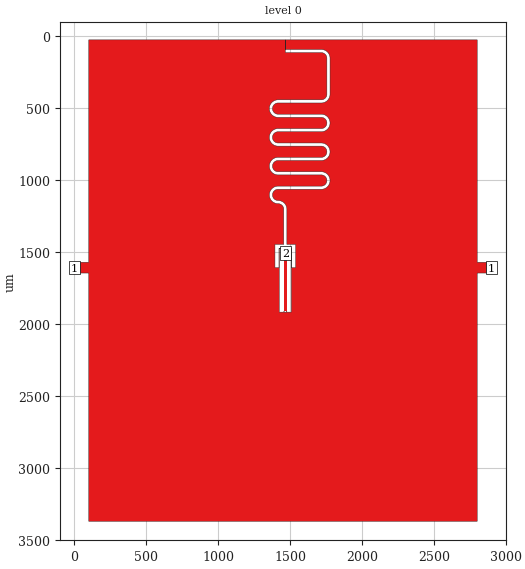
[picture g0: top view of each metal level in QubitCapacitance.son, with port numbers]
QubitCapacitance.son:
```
FTYP SONPROJ 15 ! Sonnet Project File
VER 16.52
HEADER
LIC calt2.2.43068 b6ae2bd1257f DESKTOP-SL82IK9 Michael
DAT 07/12/2016 18:24:53
BUILT_BY_CREATED xgeom 16.52 04/11/2016 14:48:12
BUILT_BY_SAVED xgeom 16.52
MDATE 07/12/2016 18:24:53
HDATE 07/12/2016 16:52:18
END HEADER
DIM
FREQ GHZ
IND NH
LNG UM
ANG DEG
CON /OH
CAP PF
RES OH
END DIM
FREQ
SIMPLE 1.0 2.0 1.0
ABS 4.0 8.0 
STEP 0.1
END FREQ
CONTROL
STD
OPTIONS  -d 
SPEED 0
CACHE_ABS 1
TARG_ABS 300
Q_ACC N
END CONTROL
GEO
DRP1 LEFT FIX 100
DRP1 RIGHT FIX 100
TMET "Lossless" 0 SUP 0 0 0 0
BMET "Lossless" 0 SUP 0 0 0 0
BOX 1 2900 3400 2900 3400 20 0
      1000 1 1 0 0 0 0 "Unnamed"
      500 11.9 1 5e-006 0 0 0 "Silicon (intrinsic)"
LORGN 0 3400 U 
POR1 AGND
POLY 100 1
4
2 50 0 0 0 1466 1506.8 NONE 
POR1 STD
POLY 105 1
2404
1 50 0 0 0 0 1608.500048 
POR1 STD
POLY 105 1
1
1 50 0 0 0 2900 1608.500008 
NUM 2
0 17 -1 N 100 1 1 100 100 0 0 0 Y
1475 1908.8
1473 1908.8
1473 1906.8
1478 1906.8
1478 1506.8
1454 1506.8
1454 1906.8
1459 1906.8
1459 1908.8
1457 1908.8
1457 1910.8
1461 1910.8
1461 1906.8
1471 1906.8
1471 1910.8
1475 1910.8
1475 1908.8
END
0 2410 -1 N 105 1 1 100 100 0 0 0 Y
2800.000156 1645.999993
2900 1645.999993
2900 1571.000023
2800.000156 1571.000023
2800.000156 25
1466 25
1466 91.8
1716 91.8
1716.98 91.81
1717.95 91.83
1718.93 91.87
1719.91 91.92
1720.88 92
1721.86 92.08
1722.83 92.18
1723.8 92.3
1724.77 92.43
1725.74 92.58
1726.7 92.75
1727.66 92.93
1728.62 93.12
1729.57 93.33
1730.52 93.56
1731.47 93.79
1732.42 94.05
1733.36 94.32
1734.29 94.61
1735.22 94.91
1736.15 95.22
1737.07 95.55
1737.98 95.9
1738.89 96.26
1739.8 96.63
1740.69 97.02
1741.58 97.42
1742.47 97.84
1743.34 98.27
1744.22 98.72
1745.08 99.18
1745.93 99.65
1746.78 100.14
1747.62 100.64
1748.45 101.15
1749.28 101.68
1750.09 102.22
1750.9 102.77
1751.7 103.33
1752.48 103.91
1753.26 104.5
1754.03 105.11
1754.79 105.72
1755.54 106.35
1756.28 106.99
1757.01 107.64
1757.73 108.3
1758.44 108.98
1759.13 109.67
1759.82 110.36
1760.49 111.07
1761.16 111.79
1761.81 112.52
1762.45 113.26
1763.08 114.01
1763.69 114.77
1764.3 115.53
1764.89 116.31
1765.47 117.1
1766.03 117.9
1766.58 118.71
1767.12 119.52
1767.65 120.35
1768.16 121.18
1768.66 122.02
1769.15 122.87
1769.62 123.72
1770.08 124.58
1770.53 125.45
1770.96 126.33
1771.38 127.22
1771.78 128.11
1772.17 129
1772.54 129.91
1772.9 130.82
1773.25 131.73
1773.58 132.65
1773.89 133.58
1774.19 134.51
1774.48 135.44
1774.75 136.38
1775.01 137.33
1775.24 138.27
1775.47 139.22
1775.68 140.18
1775.88 141.14
1776.05 142.1
1776.22 143.06
1776.37 144.03
1776.5 145
1776.62 145.97
1776.72 146.94
1776.8 147.92
1776.88 148.89
1776.93 149.87
1776.97 150.84
1776.99 151.82
1777 152.8
1777 155.35
1777 157.9
1777 160.45
1777 163
1777 165.55
1777 168.1
1777 170.66
1777 173.21
1777 175.76
1777 178.31
1777 180.86
1777 183.41
1777 185.96
1777 188.51
1777 191.06
1777 193.62
1777 196.17
1777 198.72
1777 201.27
1777 203.82
1777 206.37
1777 208.92
1777 211.47
1777 214.02
1777 216.58
1777 219.13
1777 221.68
1777 224.23
1777 226.78
1777 229.33
1777 231.88
1777 234.43
1777 236.98
1777 239.53
1777 242.08
1777 244.64
1777 247.19
1777 249.74
1777 252.29
1777 254.84
1777 257.39
1777 259.94
1777 262.49
1777 265.04
1777 267.6
1777 270.15
1777 272.7
1777 275.25
1777 277.8
1777 280.35
1777 282.9
1777 285.45
1777 288
1777 290.55
1777 293.1
1777 295.66
1777 298.21
1777 300.76
1777 303.31
1777 305.86
1777 308.41
1777 310.96
1777 313.51
1777 316.06
1777 318.62
1777 321.17
1777 323.72
1777 326.27
1777 328.82
1777 331.37
1777 333.92
1777 336.47
1777 339.02
1777 341.58
1777 344.13
1777 346.68
1777 349.23
1777 351.78
1777 354.33
1777 356.88
1777 359.43
1777 361.98
1777 364.53
1777 367.08
1777 369.64
1777 372.19
1777 374.74
1777 377.29
1777 379.84
1777 382.39
1777 384.94
1777 387.49
1777 390.04
1777 392.6
1777 395.15
1777 397.7
1777 400.25
1777 402.8
1776.99 403.78
1776.97 404.75
1776.93 405.73
1776.88 406.71
1776.8 407.68
1776.72 408.66
1776.62 409.63
1776.5 410.6
1776.37 411.57
1776.22 412.54
1776.05 413.5
1775.88 414.46
1775.68 415.42
1775.47 416.37
1775.24 417.32
1775.01 418.27
1774.75 419.22
1774.48 420.15
1774.19 421.09
1773.89 422.02
1773.58 422.95
1773.25 423.87
1772.9 424.78
1772.54 425.69
1772.17 426.59
1771.78 427.49
1771.38 428.38
1770.96 429.27
1770.53 430.14
1770.08 431.01
1769.62 431.88
1769.15 432.73
1768.66 433.58
1768.16 434.42
1767.65 435.25
1767.12 436.08
1766.58 436.89
1766.03 437.7
1765.47 438.5
1764.89 439.28
1764.3 440.06
1763.69 440.83
1763.08 441.59
1762.45 442.34
1761.81 443.08
1761.16 443.81
1760.49 444.53
1759.82 445.24
1759.13 445.93
1758.44 446.62
1757.73 447.29
1757.01 447.96
1756.28 448.61
1755.54 449.25
1754.79 449.88
1754.03 450.49
1753.26 451.09
1752.49 451.68
1751.7 452.26
1750.9 452.83
1750.09 453.38
1749.28 453.92
1748.45 454.45
1747.62 454.96
1746.78 455.46
1745.93 455.95
1745.08 456.42
1744.22 456.88
1743.34 457.33
1742.47 457.76
1741.58 458.17
1740.69 458.58
1739.8 458.97
1738.89 459.34
1737.98 459.7
1737.07 460.05
1736.15 460.38
1735.22 460.69
1734.29 460.99
1733.36 461.28
1732.42 461.55
1731.47 461.8
1730.52 462.04
1729.57 462.27
1728.62 462.48
1727.66 462.67
1726.7 462.85
1725.74 463.02
1724.77 463.16
1723.8 463.3
1722.83 463.42
1721.86 463.52
1720.88 463.6
1719.91 463.67
1718.93 463.73
1717.95 463.77
1716.98 463.79
1716 463.8
1416 463.8
1414.75 463.82
1413.5 463.88
1412.26 463.98
1411.01 464.12
1409.78 464.3
1408.55 464.52
1407.32 464.78
1406.11 465.08
1404.9 465.41
1403.71 465.79
1402.53 466.2
1401.37 466.65
1400.21 467.14
1399.08 467.66
1397.96 468.22
1396.86 468.82
1395.78 469.45
1394.73 470.11
1393.69 470.81
1392.67 471.54
1391.68 472.31
1390.72 473.1
1389.78 473.93
1388.87 474.78
1387.99 475.67
1387.13 476.58
1386.31 477.52
1385.51 478.48
1384.75 479.47
1384.01 480.49
1383.32 481.52
1382.65 482.58
1382.02 483.66
1381.42 484.76
1380.86 485.88
1380.34 487.01
1379.85 488.16
1379.4 489.33
1378.99 490.51
1378.61 491.7
1378.28 492.91
1377.98 494.12
1377.72 495.34
1377.5 496.58
1377.32 497.81
1377.18 499.05
1377.08 500.3
1377.02 501.55
1377 502.8
1377.02 504.05
1377.08 505.3
1377.18 506.54
1377.32 507.79
1377.5 509.02
1377.72 510.25
1377.98 511.48
1378.28 512.69
1378.61 513.9
1378.99 515.09
1379.4 516.27
1379.85 517.43
1380.34 518.59
1380.86 519.72
1381.42 520.84
1382.02 521.94
1382.65 523.02
1383.32 524.08
1384.01 525.11
1384.75 526.12
1385.51 527.12
1386.31 528.08
1387.13 529.02
1387.99 529.93
1388.87 530.82
1389.78 531.67
1390.72 532.5
1391.68 533.29
1392.68 534.05
1393.69 534.79
1394.72 535.48
1395.78 536.15
1396.86 536.78
1397.96 537.38
1399.08 537.94
1400.21 538.46
1401.37 538.95
1402.53 539.4
1403.71 539.81
1404.9 540.19
1406.11 540.52
1407.32 540.82
1408.55 541.08
1409.78 541.3
1411.01 541.48
1412.26 541.62
1413.5 541.72
1414.75 541.78
1416 541.8
1716 541.8
1717.95 541.83
1719.91 541.92
1721.86 542.08
1723.8 542.3
1725.74 542.58
1727.66 542.92
1729.57 543.33
1731.47 543.79
1733.36 544.32
1735.22 544.91
1737.07 545.55
1738.89 546.26
1740.69 547.02
1742.47 547.84
1744.22 548.72
1745.93 549.65
1747.62 550.64
1749.28 551.68
1750.9 552.77
1752.49 553.91
1754.03 555.11
1755.54 556.35
1757.01 557.64
1758.44 558.98
1759.82 560.36
1761.16 561.79
1762.45 563.26
1763.69 564.77
1764.89 566.31
1766.03 567.9
1767.12 569.52
1768.16 571.18
1769.15 572.87
1770.08 574.58
1770.96 576.33
1771.78 578.11
1772.54 579.91
1773.25 581.73
1773.89 583.58
1774.48 585.44
1775.01 587.33
1775.47 589.23
1775.88 591.14
1776.22 593.06
1776.5 595
1776.72 596.94
1776.88 598.89
1776.97 600.84
1777 602.8
1776.97 604.75
1776.88 606.71
1776.72 608.66
1776.5 610.6
1776.22 612.54
1775.88 614.46
1775.47 616.37
1775.01 618.27
1774.48 620.15
1773.89 622.02
1773.25 623.87
1772.54 625.69
1771.78 627.49
1770.96 629.27
1770.08 631.01
1769.15 632.73
1768.16 634.42
1767.12 636.08
1766.03 637.7
1764.89 639.28
1763.69 640.83
1762.45 642.34
1761.16 643.81
1759.82 645.24
1758.44 646.62
1757.01 647.96
1755.54 649.25
1754.03 650.49
1752.49 651.69
1750.9 652.83
1749.28 653.92
1747.62 654.96
1745.93 655.95
1744.22 656.88
1742.47 657.76
1740.69 658.58
1738.89 659.34
1737.07 660.05
1735.22 660.69
1733.36 661.28
1731.47 661.8
1729.57 662.27
1727.66 662.67
1725.74 663.02
1723.8 663.3
1721.86 663.52
1719.91 663.67
1717.95 663.77
1716 663.8
1416 663.8
1414.75 663.82
1413.5 663.88
1412.26 663.98
1411.01 664.12
1409.78 664.3
1408.55 664.52
1407.32 664.78
1406.11 665.08
1404.9 665.41
1403.71 665.79
1402.53 666.2
1401.37 666.65
1400.21 667.14
1399.08 667.66
1397.96 668.22
1396.86 668.82
1395.78 669.45
1394.73 670.11
1393.69 670.81
1392.68 671.54
1391.68 672.31
1390.72 673.1
1389.78 673.93
1388.87 674.78
1387.99 675.67
1387.13 676.58
1386.3 677.52
1385.51 678.48
1384.75 679.47
1384.01 680.49
1383.32 681.52
1382.65 682.58
1382.02 683.66
1381.42 684.76
1380.86 685.88
1380.34 687.01
1379.85 688.16
1379.4 689.33
1378.99 690.51
1378.61 691.7
1378.28 692.91
1377.98 694.12
1377.72 695.34
1377.5 696.58
1377.32 697.81
1377.18 699.05
1377.08 700.3
1377.02 701.55
1377 702.8
1377.02 704.05
1377.08 705.3
1377.18 706.54
1377.32 707.79
1377.5 709.02
1377.72 710.25
1377.98 711.48
1378.28 712.69
1378.61 713.9
1378.99 715.09
1379.4 716.27
1379.85 717.43
1380.34 718.59
1380.86 719.72
1381.42 720.84
1382.02 721.94
1382.65 723.02
1383.32 724.08
1384.01 725.11
1384.75 726.12
1385.51 727.11
1386.31 728.08
1387.13 729.02
1387.98 729.93
1388.87 730.81
1389.78 731.67
1390.72 732.49
1391.68 733.29
1392.68 734.05
1393.69 734.79
1394.73 735.48
1395.78 736.15
1396.86 736.78
1397.96 737.38
1399.08 737.94
1400.21 738.46
1401.37 738.95
1402.53 739.4
1403.71 739.81
1404.9 740.19
1406.11 740.52
1407.32 740.82
1408.55 741.08
1409.78 741.3
1411.01 741.48
1412.26 741.62
1413.5 741.72
1414.75 741.78
1416 741.8
1716 741.8
1717.95 741.83
1719.91 741.92
1721.86 742.08
1723.8 742.3
1725.74 742.58
1727.66 742.92
1729.57 743.33
1731.47 743.79
1733.36 744.32
1735.22 744.91
1737.07 745.55
1738.89 746.26
1740.69 747.02
1742.47 747.84
1744.22 748.72
1745.93 749.65
1747.62 750.63
1749.28 751.68
1750.9 752.77
1752.48 753.91
1754.03 755.11
1755.54 756.35
1757.01 757.64
1758.44 758.98
1759.82 760.36
1761.16 761.79
1762.45 763.26
1763.69 764.77
1764.89 766.31
1766.03 767.9
1767.12 769.52
1768.16 771.18
1769.15 772.86
1770.08 774.58
1770.96 776.33
1771.78 778.11
1772.54 779.91
1773.25 781.73
1773.89 783.58
1774.48 785.44
1775 787.33
1775.47 789.23
1775.88 791.14
1776.22 793.06
1776.5 795
1776.72 796.94
1776.88 798.89
1776.97 800.84
1777 802.8
1776.97 804.75
1776.88 806.71
1776.72 808.66
1776.5 810.6
1776.22 812.54
1775.88 814.46
1775.47 816.37
1775.01 818.27
1774.48 820.15
1773.89 822.02
1773.25 823.87
1772.54 825.69
1771.78 827.49
1770.96 829.27
1770.08 831.01
1769.15 832.73
1768.16 834.42
1767.12 836.08
1766.03 837.7
1764.89 839.28
1763.69 840.83
1762.45 842.34
1761.16 843.81
1759.82 845.24
1758.44 846.62
1757.01 847.96
1755.54 849.25
1754.03 850.49
1752.48 851.68
1750.9 852.83
1749.28 853.92
1747.62 854.96
1745.93 855.95
1744.22 856.88
1742.47 857.76
1740.69 858.58
1738.89 859.34
1737.07 860.05
1735.22 860.69
1733.36 861.28
1731.47 861.8
1729.57 862.27
1727.66 862.67
1725.74 863.02
1723.8 863.3
1721.86 863.52
1719.91 863.67
1717.95 863.77
1716 863.8
1416 863.8
1414.75 863.82
1413.5 863.88
1412.26 863.98
1411.01 864.12
1409.78 864.3
1408.55 864.52
1407.32 864.78
1406.11 865.08
1404.9 865.41
1403.71 865.79
1402.53 866.2
1401.37 866.65
1400.21 867.14
1399.08 867.66
1397.96 868.22
1396.86 868.82
1395.78 869.45
1394.73 870.11
1393.69 870.81
1392.67 871.54
1391.68 872.31
1390.72 873.1
1389.78 873.93
1388.87 874.78
1387.99 875.67
1387.13 876.58
1386.31 877.52
1385.51 878.48
1384.75 879.47
1384.01 880.49
1383.32 881.52
1382.65 882.58
1382.02 883.66
1381.42 884.76
1380.86 885.88
1380.34 887.01
1379.85 888.16
1379.4 889.33
1378.99 890.51
1378.61 891.7
1378.28 892.91
1377.98 894.12
1377.72 895.34
1377.5 896.58
1377.32 897.81
1377.18 899.05
1377.08 900.3
1377.02 901.55
1377 902.8
1377.02 904.05
1377.08 905.3
1377.18 906.54
1377.32 907.79
1377.5 909.02
1377.72 910.25
1377.98 911.48
1378.28 912.69
1378.61 913.9
1378.99 915.09
1379.4 916.27
1379.85 917.43
1380.34 918.59
1380.86 919.72
1381.42 920.84
1382.02 921.94
1382.65 923.02
1383.32 924.07
1384.01 925.11
1384.75 926.12
1385.51 927.11
1386.31 928.08
1387.13 929.02
1387.99 929.93
1388.87 930.81
1389.78 931.67
1390.72 932.49
1391.69 933.29
1392.67 934.05
1393.69 934.79
1394.73 935.48
1395.78 936.15
1396.86 936.78
1397.96 937.38
1399.08 937.94
1400.21 938.46
1401.37 938.95
1402.53 939.4
1403.71 939.81
1404.9 940.19
1406.11 940.52
1407.32 940.82
1408.55 941.08
1409.78 941.3
1411.01 941.48
1412.26 941.62
1413.5 941.72
1414.75 941.78
1416 941.8
1716 941.8
1717.95 941.83
1719.91 941.92
1721.86 942.08
1723.8 942.3
1725.74 942.58
1727.66 942.92
1729.57 943.33
1731.47 943.79
1733.36 944.32
1735.22 944.91
1737.07 945.55
1738.89 946.26
1740.69 947.02
1742.47 947.84
1744.22 948.72
1745.93 949.65
1747.62 950.63
1749.28 951.68
1750.9 952.77
1752.49 953.91
1754.03 955.11
1755.54 956.35
1757.01 957.64
1758.44 958.98
1759.82 960.36
1761.16 961.79
1762.45 963.26
1763.69 964.77
1764.89 966.31
1766.03 967.9
1767.12 969.52
1768.16 971.18
1769.15 972.87
1770.08 974.58
1770.96 976.33
1771.78 978.11
1772.54 979.91
1773.25 981.73
1773.89 983.58
1774.48 985.44
1775.01 987.33
1775.47 989.23
1775.88 991.14
1776.22 993.06
1776.5 995
1776.72 996.94
1776.88 998.89
1776.97 1000.84
1777 1002.8
1776.97 1004.75
1776.88 1006.71
1776.72 1008.66
1776.5 1010.6
1776.22 1012.54
1775.88 1014.46
1775.47 1016.37
1775 1018.27
1774.48 1020.15
1773.89 1022.02
1773.25 1023.87
1772.54 1025.69
1771.78 1027.49
1770.96 1029.27
1770.08 1031.01
1769.15 1032.73
1768.16 1034.42
1767.12 1036.08
1766.03 1037.7
1764.89 1039.28
1763.69 1040.83
1762.45 1042.34
1761.16 1043.81
1759.82 1045.24
1758.44 1046.62
1757.01 1047.96
1755.54 1049.25
1754.03 1050.49
1752.49 1051.69
1750.9 1052.83
1749.28 1053.92
1747.62 1054.96
1745.93 1055.95
1744.22 1056.88
1742.47 1057.76
1740.69 1058.58
1738.89 1059.34
1737.07 1060.05
1735.22 1060.69
1733.36 1061.28
1731.47 1061.8
1729.57 1062.27
1727.66 1062.67
1725.74 1063.02
1723.8 1063.3
1721.86 1063.52
1719.91 1063.67
1717.95 1063.77
1716 1063.8
1416 1063.8
1414.75 1063.82
1413.5 1063.88
1412.26 1063.98
1411.01 1064.12
1409.78 1064.3
1408.55 1064.52
1407.32 1064.78
1406.11 1065.08
1404.9 1065.41
1403.71 1065.79
1402.53 1066.2
1401.37 1066.65
1400.21 1067.14
1399.08 1067.66
1397.96 1068.22
1396.86 1068.82
1395.78 1069.45
1394.73 1070.11
1393.69 1070.81
1392.67 1071.54
1391.68 1072.31
1390.72 1073.1
1389.78 1073.93
1388.87 1074.78
1387.99 1075.67
1387.13 1076.58
1386.31 1077.52
1385.51 1078.48
1384.75 1079.47
1384.01 1080.49
1383.32 1081.52
1382.65 1082.58
1382.02 1083.66
1381.42 1084.76
1380.86 1085.88
1380.34 1087.01
1379.85 1088.16
1379.4 1089.33
1378.99 1090.51
1378.61 1091.7
1378.28 1092.91
1377.98 1094.12
1377.72 1095.34
1377.5 1096.58
1377.32 1097.81
1377.18 1099.05
1377.08 1100.3
1377.02 1101.55
1377 1102.8
1377.02 1104.05
1377.08 1105.3
1377.18 1106.54
1377.32 1107.79
1377.5 1109.02
1377.72 1110.25
1377.98 1111.48
1378.28 1112.69
1378.61 1113.9
1378.99 1115.09
1379.4 1116.27
1379.85 1117.43
1380.34 1118.59
1380.86 1119.72
1381.42 1120.84
1382.02 1121.94
1382.65 1123.02
1383.32 1124.08
1384.01 1125.11
1384.75 1126.13
1385.51 1127.12
1386.31 1128.08
1387.13 1129.02
1387.99 1129.93
1388.87 1130.82
1389.78 1131.67
1390.72 1132.5
1391.68 1133.29
1392.68 1134.05
1393.69 1134.79
1394.73 1135.48
1395.78 1136.15
1396.86 1136.78
1397.96 1137.38
1399.08 1137.94
1400.21 1138.46
1401.37 1138.95
1402.53 1139.4
1403.71 1139.81
1404.9 1140.19
1406.11 1140.52
1407.32 1140.82
1408.55 1141.08
1409.78 1141.3
1411.01 1141.48
1412.26 1141.62
1413.5 1141.72
1414.75 1141.78
1416 1141.8
1416.98 1141.81
1417.96 1141.83
1418.93 1141.87
1419.91 1141.92
1420.88 1141.99
1421.86 1142.08
1422.83 1142.18
1423.8 1142.3
1424.77 1142.43
1425.74 1142.58
1426.7 1142.74
1427.66 1142.92
1428.62 1143.12
1429.58 1143.33
1430.53 1143.55
1431.47 1143.79
1432.42 1144.05
1433.36 1144.32
1434.29 1144.61
1435.22 1144.91
1436.15 1145.22
1437.07 1145.55
1437.98 1145.9
1438.89 1146.26
1439.8 1146.63
1440.69 1147.02
1441.58 1147.42
1442.47 1147.84
1443.34 1148.27
1444.22 1148.72
1445.08 1149.18
1445.93 1149.65
1446.78 1150.13
1447.62 1150.63
1448.45 1151.15
1449.28 1151.68
1450.09 1152.22
1450.9 1152.77
1451.7 1153.33
1452.49 1153.91
1453.26 1154.5
1454.03 1155.11
1454.79 1155.72
1455.54 1156.35
1456.28 1156.99
1457.01 1157.64
1457.73 1158.31
1458.44 1158.98
1459.14 1159.66
1459.82 1160.36
1460.49 1161.07
1461.16 1161.79
1461.81 1162.52
1462.45 1163.26
1463.08 1164.01
1463.69 1164.77
1464.3 1165.54
1464.89 1166.31
1465.47 1167.1
1466.03 1167.9
1466.58 1168.71
1467.12 1169.52
1467.65 1170.35
1468.16 1171.18
1468.66 1172.02
1469.15 1172.87
1469.62 1173.72
1470.08 1174.58
1470.53 1175.45
1470.96 1176.33
1471.38 1177.22
1471.78 1178.11
1472.17 1179
1472.54 1179.91
1472.9 1180.82
1473.25 1181.73
1473.58 1182.65
1473.89 1183.58
1474.19 1184.51
1474.48 1185.44
1474.75 1186.38
1475 1187.33
1475.24 1188.27
1475.47 1189.23
1475.68 1190.18
1475.88 1191.14
1476.05 1192.1
1476.22 1193.06
1476.37 1194.03
1476.5 1195
1476.62 1195.97
1476.72 1196.94
1476.8 1197.92
1476.88 1198.89
1476.93 1199.87
1476.97 1200.84
1476.99 1201.82
1477 1202.8
1477 1205.35
1477 1207.9
1477 1210.45
1477 1213
1477 1215.55
1477 1218.11
1477 1220.66
1477 1223.21
1477 1225.76
1477 1228.31
1477 1230.86
1477 1233.41
1477 1235.96
1477 1238.51
1477 1241.06
1477 1243.61
1477 1246.17
1477 1248.72
1477 1251.27
1477 1253.82
1477 1256.37
1477 1258.92
1477 1261.47
1477 1264.02
1477 1266.58
1477 1269.13
1477 1271.68
1477 1274.23
1477 1276.78
1477 1279.33
1477 1281.88
1477 1284.43
1477 1286.98
1477 1289.53
1477 1292.08
1477 1294.64
1477 1297.19
1477 1299.74
1477 1302.29
1477 1304.84
1477 1307.39
1477 1309.94
1477 1312.49
1477 1315.04
1477 1317.59
1477 1320.15
1477 1322.7
1477 1325.25
1477 1327.8
1477 1330.35
1477 1332.9
1477 1335.45
1477 1338
1477 1340.55
1477 1343.11
1477 1345.66
1477 1348.21
1477 1350.76
1477 1353.31
1477 1355.86
1477 1358.41
1477 1360.96
1477 1363.51
1477 1366.06
1477 1368.62
1477 1371.17
1477 1373.72
1477 1376.27
1477 1378.82
1477 1381.37
1477 1383.92
1477 1386.47
1477 1389.02
1477 1391.58
1477 1394.13
1477 1396.68
1477 1399.23
1477 1401.78
1477 1404.33
1477 1406.88
1477 1409.43
1477 1411.98
1477 1414.53
1477 1417.08
1477 1419.64
1477 1422.19
1477 1424.74
1477 1427.29
1477 1429.84
1477 1432.39
1477 1434.94
1477 1437.49
1477 1440.04
1477 1442.59
1477 1445.15
1477 1446.8
1538 1446.8
1538 1608.8
1510 1608.8
1510 1474.8
1424 1474.8
1424 1476.8
1508 1476.8
1508 1917.8
1477 1917.8
1477 1913.8
1473 1913.8
1473 1915.8
1475 1915.8
1475 1917.8
1457 1917.8
1457 1915.8
1459 1915.8
1459 1913.8
1455 1913.8
1455 1917.8
1424 1917.8
1424 1476.8
1424 1474.8
1422 1474.8
1422 1608.8
1394 1608.8
1394 1446.8
1455 1446.8
1455 1445.15
1455 1442.6
1455 1440.04
1455 1437.49
1455 1434.94
1455 1432.39
1455 1429.84
1455 1427.29
1455 1424.74
1455 1422.19
1455 1419.64
1455 1417.08
1455 1414.53
1455 1411.98
1455 1409.43
1455 1406.88
1455 1404.33
1455 1401.78
1455 1399.23
1455 1396.68
1455 1394.13
1455 1391.58
1455 1389.02
1455 1386.47
1455 1383.92
1455 1381.37
1455 1378.82
1455 1376.27
1455 1373.72
1455 1371.17
1455 1368.61
1455 1366.06
1455 1363.51
1455 1360.96
1455 1358.41
1455 1355.86
1455 1353.31
1455 1350.76
1455 1348.21
1455 1345.66
1455 1343.11
1455 1340.55
1455 1338
1455 1335.45
1455 1332.9
1455 1330.35
1455 1327.8
1455 1325.25
1455 1322.7
1455 1320.15
1455 1317.6
1455 1315.04
1455 1312.49
1455 1309.94
1455 1307.39
1455 1304.84
1455 1302.29
1455 1299.74
1455 1297.19
1455 1294.64
1455 1292.08
1455 1289.53
1455 1286.98
1455 1284.43
1455 1281.88
1455 1279.33
1455 1276.78
1455 1274.23
1455 1271.68
1455 1269.13
1455 1266.57
1455 1264.02
1455 1261.47
1455 1258.92
1455 1256.37
1455 1253.82
1455 1251.27
1455 1248.72
1455 1246.17
1455 1243.62
1455 1241.06
1455 1238.51
1455 1235.96
1455 1233.41
1455 1230.86
1455 1228.31
1455 1225.76
1455 1223.21
1455 1220.66
1455 1218.11
1455 1215.55
1455 1213
1455 1210.45
1455 1207.9
1455 1205.35
1455 1202.8
1455 1202.17
1454.98 1201.55
1454.96 1200.92
1454.92 1200.3
1454.88 1199.68
1454.82 1199.05
1454.76 1198.43
1454.68 1197.81
1454.6 1197.19
1454.5 1196.57
1454.4 1195.96
1454.28 1195.34
1454.16 1194.73
1454.02 1194.12
1453.88 1193.51
1453.72 1192.91
1453.56 1192.3
1453.39 1191.7
1453.21 1191.11
1453.01 1190.51
1452.81 1189.92
1452.6 1189.33
1452.38 1188.74
1452.15 1188.16
1451.91 1187.59
1451.66 1187.01
1451.41 1186.44
1451.14 1185.88
1450.86 1185.32
1450.58 1184.76
1450.28 1184.21
1449.98 1183.66
1449.67 1183.12
1449.35 1182.58
1449.02 1182.05
1448.69 1181.52
1448.34 1181
1447.99 1180.49
1447.63 1179.98
1447.26 1179.47
1446.88 1178.98
1446.49 1178.48
1446.1 1178
1445.7 1177.52
1445.29 1177.05
1444.87 1176.58
1444.45 1176.12
1444.02 1175.67
1443.58 1175.22
1443.13 1174.78
1442.68 1174.35
1442.22 1173.93
1441.75 1173.51
1441.28 1173.1
1440.8 1172.7
1440.32 1172.31
1439.83 1171.92
1439.33 1171.54
1438.82 1171.17
1438.31 1170.81
1437.8 1170.46
1437.28 1170.11
1436.75 1169.78
1436.22 1169.45
1435.68 1169.13
1435.14 1168.82
1434.59 1168.52
1434.04 1168.22
1433.48 1167.94
1432.92 1167.66
1432.36 1167.4
1431.79 1167.14
1431.21 1166.89
1430.64 1166.65
1430.06 1166.42
1429.47 1166.2
1428.88 1165.99
1428.29 1165.79
1427.69 1165.59
1427.1 1165.41
1426.5 1165.24
1425.89 1165.08
1425.29 1164.92
1424.68 1164.78
1424.07 1164.64
1423.46 1164.52
1422.84 1164.4
1422.23 1164.3
1421.61 1164.2
1420.99 1164.12
1420.37 1164.04
1419.75 1163.98
1419.12 1163.92
1418.5 1163.88
1417.88 1163.84
1417.25 1163.82
1416.63 1163.8
1416 1163.8
1414.05 1163.77
1412.09 1163.67
1410.14 1163.52
1408.2 1163.3
1406.26 1163.02
1404.34 1162.67
1402.43 1162.27
1400.53 1161.8
1398.65 1161.28
1396.78 1160.69
1394.93 1160.05
1393.11 1159.34
1391.31 1158.58
1389.53 1157.76
1387.79 1156.88
1386.07 1155.95
1384.38 1154.96
1382.72 1153.92
1381.1 1152.83
1379.52 1151.68
1377.97 1150.49
1376.46 1149.25
1374.99 1147.96
1373.56 1146.62
1372.18 1145.24
1370.84 1143.81
1369.55 1142.34
1368.31 1140.83
1367.11 1139.28
1365.97 1137.7
1364.88 1136.08
1363.84 1134.42
1362.85 1132.73
1361.92 1131.01
1361.04 1129.27
1360.22 1127.49
1359.46 1125.69
1358.75 1123.87
1358.11 1122.02
1357.52 1120.15
1357 1118.27
1356.53 1116.37
1356.13 1114.46
1355.78 1112.54
1355.5 1110.6
1355.28 1108.66
1355.13 1106.71
1355.03 1104.75
1355 1102.8
1355.03 1100.84
1355.13 1098.89
1355.28 1096.94
1355.5 1095
1355.78 1093.06
1356.13 1091.14
1356.53 1089.23
1357 1087.33
1357.52 1085.44
1358.11 1083.58
1358.75 1081.73
1359.46 1079.91
1360.22 1078.11
1361.04 1076.33
1361.92 1074.58
1362.85 1072.87
1363.84 1071.18
1364.88 1069.52
1365.97 1067.9
1367.11 1066.31
1368.31 1064.77
1369.55 1063.26
1370.84 1061.79
1372.18 1060.36
1373.56 1058.98
1374.99 1057.64
1376.46 1056.35
1377.97 1055.11
1379.52 1053.91
1381.1 1052.77
1382.72 1051.68
1384.38 1050.63
1386.07 1049.65
1387.79 1048.72
1389.53 1047.84
1391.31 1047.02
1393.11 1046.26
1394.93 1045.55
1396.78 1044.91
1398.65 1044.32
1400.53 1043.79
1402.43 1043.33
1404.34 1042.92
1406.27 1042.58
1408.2 1042.3
1410.14 1042.08
1412.09 1041.92
1414.05 1041.83
1416 1041.8
1716 1041.8
1717.25 1041.78
1718.5 1041.72
1719.74 1041.62
1720.99 1041.48
1722.22 1041.3
1723.45 1041.08
1724.68 1040.82
1725.89 1040.52
1727.1 1040.19
1728.29 1039.81
1729.47 1039.4
1730.64 1038.95
1731.79 1038.46
1732.92 1037.94
1734.04 1037.38
1735.14 1036.78
1736.22 1036.15
1737.28 1035.48
1738.31 1034.79
1739.33 1034.05
1740.32 1033.29
1741.28 1032.5
1742.22 1031.67
1743.13 1030.82
1744.02 1029.93
1744.87 1029.02
1745.7 1028.08
1746.49 1027.12
1747.26 1026.12
1747.99 1025.11
1748.68 1024.08
1749.35 1023.02
1749.98 1021.94
1750.58 1020.84
1751.14 1019.72
1751.66 1018.59
1752.15 1017.43
1752.6 1016.27
1753.01 1015.09
1753.39 1013.9
1753.72 1012.69
1754.02 1011.48
1754.28 1010.25
1754.5 1009.02
1754.68 1007.79
1754.82 1006.54
1754.92 1005.3
1754.98 1004.05
1755 1002.8
1754.98 1001.55
1754.92 1000.3
1754.82 999.05
1754.68 997.81
1754.5 996.58
1754.28 995.34
1754.02 994.12
1753.72 992.91
1753.39 991.7
1753.01 990.51
1752.6 989.33
1752.15 988.16
1751.66 987.01
1751.14 985.88
1750.58 984.76
1749.98 983.66
1749.35 982.58
1748.69 981.52
1747.99 980.49
1747.26 979.47
1746.49 978.48
1745.7 977.52
1744.87 976.58
1744.02 975.67
1743.13 974.78
1742.22 973.93
1741.28 973.1
1740.32 972.31
1739.33 971.54
1738.31 970.81
1737.28 970.11
1736.22 969.45
1735.14 968.82
1734.04 968.22
1732.92 967.66
1731.79 967.14
1730.64 966.65
1729.47 966.2
1728.29 965.79
1727.1 965.41
1725.89 965.08
1724.68 964.78
1723.45 964.52
1722.22 964.3
1720.99 964.12
1719.74 963.98
1718.5 963.88
1717.25 963.82
1716 963.8
1416 963.8
1414.05 963.77
1412.09 963.67
1410.14 963.52
1408.2 963.3
1406.26 963.02
1404.34 962.67
1402.43 962.27
1400.53 961.8
1398.65 961.28
1396.78 960.69
1394.93 960.05
1393.11 959.34
1391.31 958.58
1389.53 957.76
1387.79 956.88
1386.07 955.95
1384.38 954.96
1382.72 953.92
1381.1 952.83
1379.52 951.69
1377.97 950.49
1376.46 949.25
1374.99 947.96
1373.56 946.62
1372.18 945.24
1370.84 943.81
1369.55 942.34
1368.31 940.83
1367.11 939.28
1365.97 937.7
1364.88 936.08
1363.84 934.42
1362.85 932.73
1361.92 931.01
1361.04 929.27
1360.22 927.49
1359.46 925.69
1358.75 923.87
1358.11 922.02
1357.52 920.15
1357 918.27
1356.53 916.37
1356.13 914.46
1355.78 912.54
1355.5 910.6
1355.28 908.66
1355.13 906.71
1355.03 904.75
1355 902.8
1355.03 900.84
1355.13 898.89
1355.28 896.94
1355.5 895
1355.78 893.06
1356.13 891.14
1356.53 889.23
1357 887.33
1357.52 885.44
1358.11 883.58
1358.75 881.73
1359.46 879.91
1360.22 878.11
1361.04 876.33
1361.92 874.58
1362.85 872.87
1363.84 871.18
1364.88 869.52
1365.97 867.9
1367.11 866.31
1368.31 864.77
1369.55 863.26
1370.84 861.79
1372.18 860.36
1373.56 858.98
1374.99 857.64
1376.46 856.35
1377.97 855.11
1379.52 853.91
1381.1 852.77
1382.72 851.68
1384.38 850.63
1386.07 849.65
1387.79 848.72
1389.53 847.84
1391.31 847.02
1393.11 846.26
1394.93 845.55
1396.78 844.91
1398.65 844.32
1400.53 843.79
1402.43 843.33
1404.34 842.92
1406.26 842.58
1408.2 842.3
1410.14 842.08
1412.09 841.92
1414.05 841.83
1416 841.8
1716 841.8
1717.25 841.78
1718.5 841.72
1719.74 841.62
1720.99 841.48
1722.22 841.3
1723.45 841.08
1724.68 840.82
1725.89 840.52
1727.1 840.19
1728.29 839.81
1729.47 839.4
1730.64 838.95
1731.79 838.46
1732.92 837.94
1734.04 837.38
1735.14 836.78
1736.22 836.15
1737.28 835.48
1738.31 834.79
1739.33 834.05
1740.32 833.29
1741.28 832.49
1742.22 831.67
1743.13 830.81
1744.02 829.93
1744.87 829.02
1745.7 828.08
1746.49 827.11
1747.25 826.12
1747.99 825.11
1748.68 824.08
1749.35 823.02
1749.98 821.94
1750.58 820.84
1751.14 819.72
1751.66 818.59
1752.15 817.43
1752.6 816.27
1753.01 815.09
1753.39 813.9
1753.72 812.69
1754.02 811.48
1754.28 810.25
1754.5 809.02
1754.68 807.79
1754.82 806.54
1754.92 805.3
1754.98 804.05
1755 802.8
1754.98 801.55
1754.92 800.3
1754.82 799.05
1754.68 797.81
1754.5 796.57
1754.28 795.34
1754.02 794.12
1753.72 792.91
1753.39 791.7
1753.01 790.51
1752.6 789.33
1752.15 788.16
1751.66 787.01
1751.14 785.88
1750.58 784.76
1749.98 783.66
1749.35 782.58
1748.68 781.52
1747.99 780.49
1747.26 779.47
1746.49 778.48
1745.7 777.52
1744.87 776.58
1744.02 775.67
1743.13 774.78
1742.22 773.93
1741.28 773.1
1740.32 772.31
1739.33 771.54
1738.31 770.81
1737.28 770.11
1736.22 769.45
1735.14 768.82
1734.04 768.22
1732.92 767.66
1731.79 767.14
1730.64 766.65
1729.47 766.2
1728.29 765.79
1727.1 765.41
1725.89 765.08
1724.68 764.78
1723.45 764.52
1722.22 764.3
1720.99 764.12
1719.75 763.98
1718.5 763.88
1717.25 763.82
1716 763.8
1416 763.8
1414.05 763.77
1412.09 763.67
1410.14 763.52
1408.2 763.3
1406.26 763.02
1404.34 762.67
1402.43 762.27
1400.53 761.8
1398.65 761.28
1396.78 760.69
1394.93 760.05
1393.11 759.34
1391.31 758.58
1389.53 757.76
1387.79 756.88
1386.07 755.95
1384.38 754.96
1382.72 753.92
1381.1 752.83
1379.52 751.69
1377.97 750.49
1376.46 749.25
1374.99 747.96
1373.56 746.62
1372.18 745.24
1370.84 743.81
1369.55 742.34
1368.31 740.83
1367.11 739.28
1365.97 737.7
1364.88 736.08
1363.84 734.42
1362.85 732.73
1361.92 731.01
1361.04 729.27
1360.22 727.49
1359.46 725.69
1358.75 723.87
1358.11 722.02
1357.52 720.15
1357 718.27
1356.53 716.37
1356.13 714.46
1355.78 712.54
1355.5 710.6
1355.28 708.66
1355.13 706.71
1355.03 704.75
1355 702.8
1355.03 700.84
1355.13 698.89
1355.28 696.94
1355.5 695
1355.78 693.06
1356.13 691.14
1356.53 689.23
1357 687.33
1357.52 685.44
1358.11 683.58
1358.75 681.73
1359.46 679.91
1360.22 678.11
1361.04 676.33
1361.92 674.58
1362.85 672.87
1363.84 671.18
1364.88 669.52
1365.97 667.9
1367.12 666.31
1368.31 664.77
1369.55 663.26
1370.84 661.79
1372.18 660.36
1373.56 658.98
1374.99 657.64
1376.46 656.35
1377.97 655.11
1379.52 653.91
1381.1 652.77
1382.72 651.68
1384.38 650.64
1386.07 649.65
1387.79 648.72
1389.53 647.84
1391.31 647.02
1393.11 646.26
1394.93 645.55
1396.78 644.91
1398.65 644.32
1400.53 643.79
1402.43 643.33
1404.34 642.92
1406.26 642.58
1408.2 642.3
1410.14 642.08
1412.09 641.92
1414.05 641.83
1416 641.8
1716 641.8
1717.25 641.78
1718.5 641.72
1719.74 641.62
1720.99 641.48
1722.22 641.3
1723.45 641.08
1724.68 640.82
1725.89 640.52
1727.1 640.19
1728.29 639.81
1729.47 639.4
1730.64 638.95
1731.79 638.46
1732.92 637.94
1734.04 637.38
1735.14 636.78
1736.22 636.15
1737.28 635.48
1738.31 634.79
1739.33 634.05
1740.32 633.29
1741.28 632.5
1742.22 631.67
1743.13 630.81
1744.02 629.93
1744.87 629.02
1745.7 628.08
1746.49 627.12
1747.26 626.12
1747.99 625.11
1748.68 624.08
1749.35 623.02
1749.98 621.94
1750.58 620.84
1751.14 619.72
1751.66 618.59
1752.15 617.43
1752.6 616.27
1753.01 615.09
1753.39 613.9
1753.72 612.69
1754.02 611.48
1754.28 610.25
1754.5 609.02
1754.68 607.79
1754.82 606.54
1754.92 605.3
1754.98 604.05
1755 602.8
1754.98 601.55
1754.92 600.3
1754.82 599.05
1754.68 597.81
1754.5 596.57
1754.28 595.34
1754.02 594.12
1753.72 592.91
1753.39 591.7
1753.01 590.51
1752.6 589.33
1752.15 588.16
1751.66 587.01
1751.14 585.88
1750.58 584.76
1749.98 583.66
1749.35 582.58
1748.68 581.52
1747.99 580.49
1747.26 579.47
1746.49 578.48
1745.7 577.52
1744.87 576.58
1744.02 575.67
1743.13 574.78
1742.22 573.93
1741.28 573.1
1740.32 572.31
1739.33 571.54
1738.31 570.81
1737.28 570.11
1736.22 569.45
1735.14 568.82
1734.04 568.22
1732.92 567.66
1731.79 567.14
1730.64 566.65
1729.47 566.2
1728.29 565.79
1727.1 565.41
1725.89 565.08
1724.68 564.78
1723.45 564.52
1722.22 564.3
1720.99 564.12
1719.74 563.98
1718.5 563.88
1717.25 563.82
1716 563.8
1416 563.8
1414.05 563.77
1412.09 563.67
1410.14 563.52
1408.2 563.3
1406.26 563.02
1404.34 562.67
1402.43 562.27
1400.53 561.8
1398.65 561.28
1396.78 560.69
1394.93 560.05
1393.11 559.34
1391.31 558.58
1389.53 557.76
1387.79 556.88
1386.07 555.95
1384.38 554.96
1382.72 553.92
1381.1 552.83
1379.52 551.68
1377.97 550.49
1376.46 549.25
1374.99 547.96
1373.56 546.62
1372.18 545.24
1370.84 543.81
1369.55 542.34
1368.31 540.83
1367.11 539.28
1365.97 537.7
1364.88 536.08
1363.84 534.42
1362.85 532.73
1361.92 531.01
1361.04 529.27
1360.22 527.49
1359.46 525.69
1358.75 523.87
1358.11 522.02
1357.52 520.16
1357 518.27
1356.53 516.37
1356.13 514.46
1355.78 512.54
1355.5 510.6
1355.28 508.66
1355.13 506.71
1355.03 504.75
1355 502.8
1355.03 500.84
1355.13 498.89
1355.28 496.94
1355.5 495
1355.78 493.06
1356.13 491.14
1356.53 489.23
1357 487.33
1357.52 485.44
1358.11 483.58
1358.75 481.73
1359.46 479.91
1360.22 478.11
1361.04 476.33
1361.92 474.58
1362.85 472.87
1363.84 471.18
1364.88 469.52
1365.97 467.9
1367.11 466.31
1368.31 464.77
1369.55 463.26
1370.84 461.79
1372.18 460.36
1373.56 458.98
1374.99 457.64
1376.46 456.35
1377.97 455.11
1379.52 453.91
1381.1 452.77
1382.72 451.68
1384.38 450.63
1386.07 449.65
1387.79 448.72
1389.53 447.84
1391.31 447.02
1393.11 446.26
1394.93 445.55
1396.78 444.91
1398.64 444.32
1400.53 443.79
1402.43 443.33
1404.34 442.92
1406.26 442.58
1408.2 442.3
1410.14 442.08
1412.09 441.92
1414.05 441.83
1416 441.8
1716 441.8
1716.63 441.79
1717.25 441.78
1717.88 441.75
1718.5 441.72
1719.12 441.67
1719.74 441.62
1720.37 441.55
1720.99 441.48
1721.61 441.39
1722.22 441.3
1722.84 441.19
1723.45 441.08
1724.07 440.96
1724.68 440.82
1725.29 440.68
1725.89 440.52
1726.5 440.36
1727.1 440.19
1727.69 440
1728.29 439.81
1728.88 439.61
1729.47 439.4
1730.05 439.18
1730.64 438.95
1731.21 438.71
1731.79 438.46
1732.36 438.2
1732.92 437.94
1733.48 437.66
1734.04 437.38
1734.59 437.08
1735.14 436.78
1735.68 436.47
1736.22 436.15
1736.75 435.82
1737.28 435.48
1737.8 435.14
1738.31 434.79
1738.82 434.42
1739.33 434.05
1739.82 433.68
1740.32 433.29
1740.8 432.9
1741.28 432.5
1741.75 432.09
1742.22 431.67
1742.68 431.25
1743.13 430.82
1743.58 430.38
1744.02 429.93
1744.45 429.48
1744.87 429.02
1745.29 428.55
1745.7 428.08
1746.1 427.6
1746.49 427.11
1746.88 426.62
1747.26 426.13
1747.63 425.62
1747.99 425.11
1748.34 424.6
1748.69 424.07
1749.02 423.55
1749.35 423.02
1749.67 422.48
1749.98 421.94
1750.28 421.39
1750.58 420.84
1750.86 420.28
1751.14 419.72
1751.4 419.15
1751.66 418.59
1751.91 418.01
1752.15 417.43
1752.38 416.85
1752.6 416.27
1752.81 415.68
1753.01 415.09
1753.2 414.49
1753.39 413.9
1753.56 413.29
1753.72 412.69
1753.88 412.09
1754.02 411.48
1754.16 410.87
1754.28 410.25
1754.39 409.64
1754.5 409.02
1754.59 408.41
1754.68 407.79
1754.76 407.17
1754.82 406.54
1754.88 405.92
1754.92 405.3
1754.95 404.67
1754.98 404.05
1755 403.42
1755 402.8
1755 400.25
1755 397.7
1755 395.15
1755 392.59
1755 390.04
1755 387.49
1755 384.94
1755 382.39
1755 379.84
1755 377.29
1755 374.74
1755 372.19
1755 369.64
1755 367.08
1755 364.53
1755 361.98
1755 359.43
1755 356.88
1755 354.33
1755 351.78
1755 349.23
1755 346.68
1755 344.13
1755 341.58
1755 339.02
1755 336.47
1755 333.92
1755 331.37
1755 328.82
1755 326.27
1755 323.72
1755 321.17
1755 318.62
1755 316.06
1755 313.51
1755 310.96
1755 308.41
1755 305.86
1755 303.31
1755 300.76
1755 298.21
1755 295.66
1755 293.1
1755 290.55
1755 288
1755 285.45
1755 282.9
1755 280.35
1755 277.8
1755 275.25
1755 272.7
1755 270.15
1755 267.59
1755 265.04
1755 262.49
1755 259.94
1755 257.39
1755 254.84
1755 252.29
1755 249.74
1755 247.19
1755 244.64
1755 242.08
1755 239.53
1755 236.98
1755 234.43
1755 231.88
1755 229.33
1755 226.78
1755 224.23
1755 221.68
1755 219.13
1755 216.58
1755 214.02
1755 211.47
1755 208.92
1755 206.37
1755 203.82
1755 201.27
1755 198.72
1755 196.17
1755 193.62
1755 191.06
1755 188.51
1755 185.96
1755 183.41
1755 180.86
1755 178.31
1755 175.76
1755 173.21
1755 170.66
1755 168.1
1755 165.55
1755 163
1755 160.45
1755 157.9
1755 155.35
1755 152.8
1754.99 152.17
1754.98 151.55
1754.95 150.92
1754.92 150.3
1754.88 149.68
1754.82 149.05
1754.76 148.43
1754.68 147.81
1754.59 147.19
1754.5 146.58
1754.4 145.96
1754.28 145.34
1754.16 144.73
1754.02 144.12
1753.88 143.51
1753.72 142.91
1753.56 142.3
1753.39 141.7
1753.2 141.1
1753.01 140.51
1752.81 139.92
1752.6 139.33
1752.38 138.75
1752.15 138.16
1751.91 137.59
1751.66 137.01
1751.4 136.44
1751.14 135.88
1750.86 135.32
1750.58 134.76
1750.28 134.21
1749.98 133.66
1749.67 133.12
1749.35 132.58
1749.02 132.05
1748.68 131.52
1748.34 131
1747.99 130.49
1747.63 129.98
1747.25 129.47
1746.88 128.98
1746.49 128.48
1746.1 128
1745.7 127.52
1745.29 127.04
1744.87 126.58
1744.45 126.12
1744.02 125.67
1743.58 125.22
1743.13 124.78
1742.68 124.35
1742.22 123.93
1741.75 123.51
1741.28 123.1
1740.8 122.7
1740.32 122.31
1739.82 121.92
1739.33 121.54
1738.82 121.17
1738.31 120.81
1737.8 120.46
1737.28 120.11
1736.75 119.78
1736.22 119.45
1735.68 119.13
1735.14 118.82
1734.59 118.51
1734.04 118.22
1733.48 117.94
1732.92 117.66
1732.36 117.39
1731.79 117.14
1731.21 116.89
1730.64 116.65
1730.05 116.42
1729.47 116.2
1728.88 115.99
1728.29 115.79
1727.69 115.59
1727.1 115.41
1726.5 115.24
1725.89 115.08
1725.29 114.92
1724.68 114.78
1724.07 114.64
1723.45 114.52
1722.84 114.4
1722.22 114.3
1721.61 114.2
1720.99 114.12
1720.37 114.04
1719.74 113.98
1719.12 113.92
1718.5 113.88
1717.88 113.84
1717.25 113.82
1716.63 113.8
1466 113.8
1466 107.8
1466 97.8
1466 91.8
1466 25
99.99995751 25
99.99995751 1571.000078
0 1571.000078
0 1646.000019
100.0000015 1646.000019
100.0000015 3372
2800.000156 3372
2800.000156 1645.999993
END
END GEO
OPT
MAX 100
VARS
END
END OPT
VARSWP
END VARSWP
```
